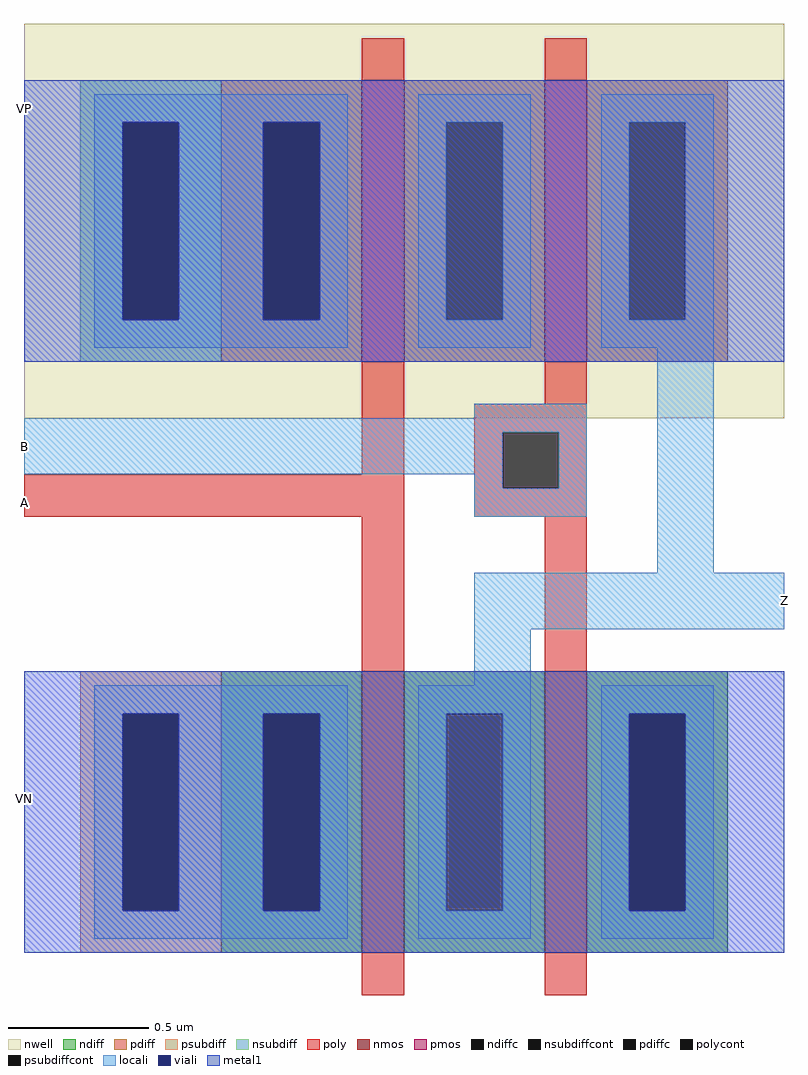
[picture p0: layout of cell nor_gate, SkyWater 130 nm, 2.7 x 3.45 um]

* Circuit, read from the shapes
.subckt nor_gate B A Z VP VN
XM1 Z A VN VN sky130_fd_pr__nfet_01v8 w=1 l=0.15
XM2 VN B Z VN sky130_fd_pr__nfet_01v8 w=1 l=0.15
XM3 n1 A VP VP sky130_fd_pr__pfet_01v8 w=1 l=0.15
XM4 Z B n1 VP sky130_fd_pr__pfet_01v8 w=1 l=0.15
.ends

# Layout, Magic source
magic
tech sky130A
<< nwell >>
rect -120 190 150 330
<< nmos >>
rect 0 0 15 100
rect 65 0 80 100
<< pmos >>
rect 0 210 15 310
rect 65 210 80 310
<< ndiff >>
rect -50 85 0 100
rect -50 15 -35 85
rect -15 15 0 85
rect -50 0 0 15
rect 15 85 65 100
rect 15 15 30 85
rect 50 15 65 85
rect 15 0 65 15
rect 80 85 130 100
rect 80 15 95 85
rect 115 15 130 85
rect 80 0 130 15
<< pdiff >>
rect -50 295 0 310
rect -50 225 -35 295
rect -15 225 0 295
rect -50 210 0 225
rect 15 295 65 310
rect 15 225 30 295
rect 50 225 65 295
rect 15 210 65 225
rect 80 295 130 310
rect 80 225 95 295
rect 115 225 130 295
rect 80 210 130 225
<< ndiffc >>
rect -35 15 -15 85
rect 30 15 50 85
rect 95 15 115 85
<< pdiffc >>
rect -35 225 -15 295
rect 30 225 50 295
rect 95 225 115 295
<< psubdiff >>
rect -100 85 -50 100
rect -100 15 -85 85
rect -65 15 -50 85
rect -100 0 -50 15
<< nsubdiff >>
rect -100 295 -50 310
rect -100 225 -85 295
rect -65 225 -50 295
rect -100 210 -50 225
<< psubdiffcont >>
rect -85 15 -65 85
<< nsubdiffcont >>
rect -85 225 -65 295
<< poly >>
rect 0 310 15 325
rect 65 310 80 325
rect 0 170 15 210
rect 65 195 80 210
rect -120 155 15 170
rect 40 185 80 195
rect 40 165 50 185
rect 70 165 80 185
rect 40 155 80 165
rect 0 100 15 155
rect 65 100 80 155
rect 0 -15 15 0
rect 65 -15 80 0
<< polycont >>
rect 50 165 70 185
<< locali >>
rect -95 295 -5 305
rect -95 225 -85 295
rect -65 225 -35 295
rect -15 225 -5 295
rect -95 215 -5 225
rect 20 295 60 305
rect 20 225 30 295
rect 50 225 60 295
rect 20 215 60 225
rect 85 295 125 305
rect 85 225 95 295
rect 115 225 125 295
rect 85 215 125 225
rect 40 190 80 195
rect -120 185 80 190
rect -120 170 50 185
rect 40 165 50 170
rect 70 165 80 185
rect 40 155 80 165
rect 105 135 125 215
rect 40 115 150 135
rect 40 95 60 115
rect -95 85 -5 95
rect -95 15 -85 85
rect -65 15 -35 85
rect -15 15 -5 85
rect -95 5 -5 15
rect 20 85 60 95
rect 20 15 30 85
rect 50 15 60 85
rect 20 5 60 15
rect 85 85 125 95
rect 85 15 95 85
rect 115 15 125 85
rect 85 5 125 15
<< viali >>
rect -85 225 -65 295
rect -35 225 -15 295
rect -85 15 -65 85
rect -35 15 -15 85
rect 95 15 115 85
<< metal1 >>
rect -120 295 150 310
rect -120 225 -85 295
rect -65 225 -35 295
rect -15 225 150 295
rect -120 210 150 225
rect -120 85 150 100
rect -120 15 -85 85
rect -65 15 -35 85
rect -15 15 95 85
rect 115 15 150 85
rect -120 0 150 15
<< labels >>
rlabel locali -120 180 -120 180 7 B
port 1 w
rlabel poly -120 160 -120 160 7 A
port 2 w
rlabel locali 150 125 150 125 3 Z
port 3 e
rlabel metal1 -120 300 -120 300 7 VP
port 4 w
rlabel metal1 -120 55 -120 55 7 VN
port 5 w
<< end >>
